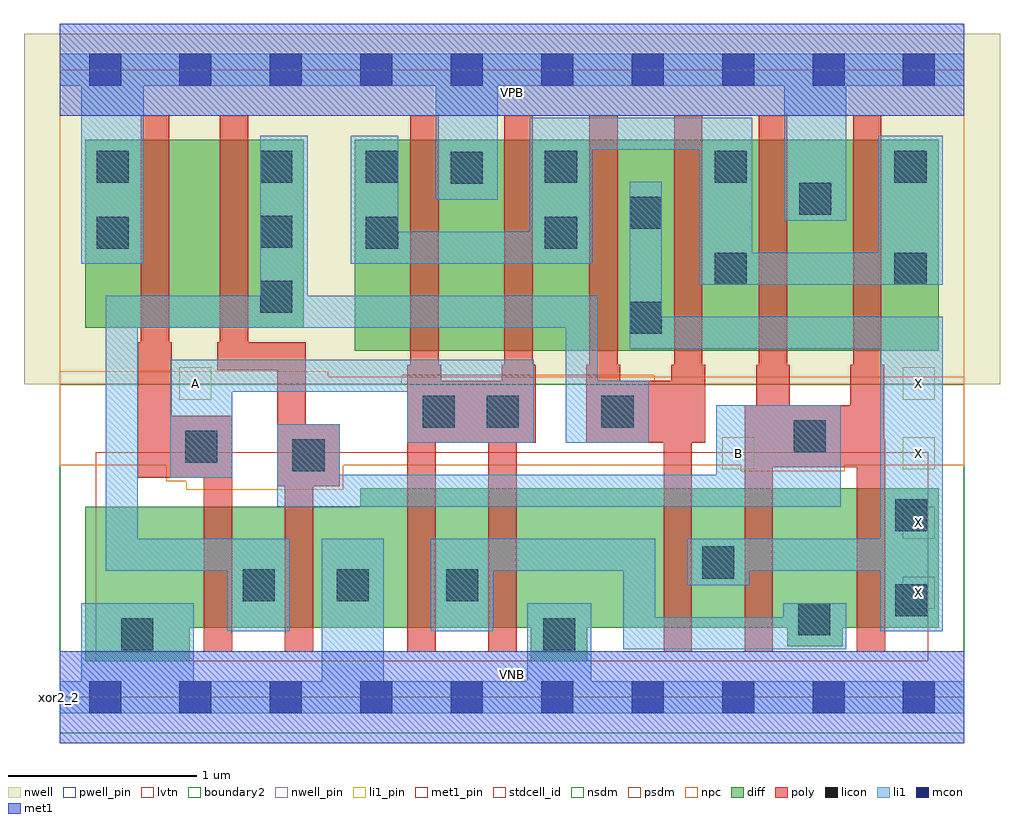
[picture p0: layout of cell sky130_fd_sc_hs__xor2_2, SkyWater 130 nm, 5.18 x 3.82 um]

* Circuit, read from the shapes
.subckt sky130_fd_sc_hs__xor2_2 A B VGND VNB VPB VPWR X
XM1 n1 A VGND VNB sky130_fd_pr__nfet_01v8_lvt w=0.64 l=0.15
XM2 VGND B n1 VNB sky130_fd_pr__nfet_01v8_lvt w=0.64 l=0.15
XM3 n2 A VGND VNB sky130_fd_pr__nfet_01v8_lvt w=0.74 l=0.15 m=2
XM4 X n1 VGND VNB sky130_fd_pr__nfet_01v8_lvt w=0.74 l=0.15
XM5 n2 B X VNB sky130_fd_pr__nfet_01v8_lvt w=0.74 l=0.15 m=2
XM6 n3 A VPWR VPB sky130_fd_pr__pfet_01v8 w=1 l=0.15
XM7 n1 B n3 VPB sky130_fd_pr__pfet_01v8 w=1 l=0.15
XM8 VPWR A n4 VPB sky130_fd_pr__pfet_01v8 w=1.12 l=0.15 m=2
XM9 X n1 n4 VPB sky130_fd_pr__pfet_01v8 w=1.12 l=0.15 m=2
XM10 VPWR B n4 VPB sky130_fd_pr__pfet_01v8 w=1.12 l=0.15 m=2
.ends

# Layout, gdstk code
import gdstk
lib = gdstk.Library(unit=1e-6, precision=1e-09)
def R(c, l, rs):  # rectangles x0, y0, x1, y1
    for r in rs: c.add(gdstk.rectangle(r[:2], r[2:], *l))
def A(c, l, x, y, w, h, nx, ny, dx, dy):  # array of equal rectangles
    R(c, l, [(x+i*dx, y+j*dy, x+i*dx+w, y+j*dy+h) for i in range(nx) for j in range(ny)])
def P(c, l, *ps):  # polygons
    for p in ps: c.add(gdstk.Polygon(p, *l))
nwell_pin = (64, 16)
nwell = (64, 20)
diff = (65, 20)
poly = (66, 20)
licon = (66, 44)
li1_pin = (67, 16)
li1 = (67, 20)
mcon = (67, 44)
met1_pin = (68, 16)
met1 = (68, 20)
stdcell_id = (81, 4)
nsdm = (93, 44)
psdm = (94, 20)
npc = (95, 20)
pwell_pin = (122, 16)
lvtn = (125, 44)
boundary2 = (236, 0)

sky130_fd_sc_hs__xor2_2 = lib.new_cell('sky130_fd_sc_hs__xor2_2')
R(sky130_fd_sc_hs__xor2_2, nwell_pin, [(0,3.085,4.8,3.33)])
R(sky130_fd_sc_hs__xor2_2, nwell, [(-0.19,1.66,4.99,3.52)])
R(sky130_fd_sc_hs__xor2_2, diff, [(1.565,1.84,4.665,2.96), (0.135,1.96,1.295,2.96)])
P(sky130_fd_sc_hs__xor2_2, diff, [(4.665,1.11),(1.595,1.11),(1.595,1.01),(0.135,1.01),(0.135,0.19),(0.69,0.19),(0.69,0.37),(2.5,0.37),(2.5,0.19),(2.8,0.19),(2.8,0.37),(3.86,0.37),(3.86,0.27),(4.155,0.27),(4.155,0.37),(4.665,0.37)])
P(sky130_fd_sc_hs__xor2_2, poly, [(4.38,1.37),(4.375,1.37),(4.375,1.765),(4.36,1.765),(4.36,3.09),(4.21,3.09),(4.21,1.765),(4.195,1.765),(4.195,1.55),(3.875,1.55),(3.875,1.765),(3.86,1.765),(3.86,3.09),(3.71,3.09),(3.71,1.765),(3.695,1.765),(3.695,1.55),(3.635,1.55),(3.635,0.24),(3.785,0.24),(3.785,1.22),(4.23,1.22),(4.23,0.24),(4.38,0.24)],
  [(3.425,1.765),(3.41,1.765),(3.41,3.09),(3.26,3.09),(3.26,1.765),(3.245,1.765),(3.245,1.68),(2.975,1.68),(2.975,1.765),(2.96,1.765),(2.96,3.09),(2.81,3.09),(2.81,1.765),(2.795,1.765),(2.795,1.35),(3.205,1.35),(3.205,0.24),(3.355,0.24),(3.355,1.35),(3.425,1.35)],
  [(2.525,1.765),(2.51,1.765),(2.51,3.09),(2.36,3.09),(2.36,1.765),(2.345,1.765),(2.345,1.68),(2.025,1.68),(2.025,1.765),(2.01,1.765),(2.01,3.09),(1.86,3.09),(1.86,1.765),(1.845,1.765),(1.845,0.24),(1.995,0.24),(1.995,1.35),(2.275,1.35),(2.275,0.24),(2.425,0.24),(2.425,1.35),(2.525,1.35)],
  [(1.485,1.45),(1.305,1.45),(1.305,1.885),(1,1.885),(1,3.09),(0.85,3.09),(0.85,1.885),(0.835,1.885),(0.835,1.735),(1.155,1.735),(1.155,1.12),(1.195,1.12),(1.195,0.24),(1.345,0.24),(1.345,1.12),(1.485,1.12)],
  [(0.915,1.495),(0.595,1.495),(0.595,1.885),(0.58,1.885),(0.58,3.09),(0.43,3.09),(0.43,1.885),(0.415,1.885),(0.415,1.165),(0.765,1.165),(0.765,0.24),(0.915,0.24)])
A(sky130_fd_sc_hs__xor2_2, licon, 1.065, 2.04, 0.17, 0.17, 1, 3, 0, 0.345)
R(sky130_fd_sc_hs__xor2_2, licon, [(0.325,0.25,0.495,0.42), (2.565,0.25,2.735,0.42), (3.92,0.33,4.09,0.5), (4.435,0.43,4.605,0.6), (0.97,0.51,1.14,0.68), (1.47,0.51,1.64,0.68), (2.05,0.51,2.22,0.68), (3.41,0.63,3.58,0.8), (4.435,0.88,4.605,1.05), (1.235,1.2,1.405,1.37), (0.665,1.245,0.835,1.415), (3.895,1.3,4.065,1.47), (1.925,1.43,2.095,1.6), (2.265,1.43,2.435,1.6), (2.875,1.43,3.045,1.6), (3.025,1.93,3.195,2.1), (3.475,2.19,3.645,2.36), (4.43,2.19,4.6,2.36), (0.195,2.38,0.365,2.55), (1.625,2.38,1.795,2.55), (2.575,2.38,2.745,2.55), (3.025,2.485,3.195,2.655), (3.925,2.56,4.095,2.73), (2.075,2.725,2.245,2.895), (0.195,2.73,0.365,2.9), (1.625,2.73,1.795,2.9), (2.575,2.73,2.745,2.9), (3.475,2.73,3.645,2.9), (4.43,2.73,4.6,2.9)])
A(sky130_fd_sc_hs__xor2_2, li1_pin, 4.475, 0.47, 0.17, 0.17, 1, 4, 0, 0.37)
R(sky130_fd_sc_hs__xor2_2, li1_pin, [(3.515,1.21,3.685,1.38), (0.635,1.58,0.805,1.75)])
P(sky130_fd_sc_hs__xor2_2, li1, [(0,-0.085),(0,0.085),(0.115,0.085),(0.115,0.5),(0.71,0.5),(0.71,0.085),(1.39,0.085),(1.39,0.84),(1.72,0.84),(1.72,0.085),(2.48,0.085),(2.48,0.5),(2.82,0.5),(2.82,0.085),(4.8,0.085),(4.8,-0.085)],
  [(0,3.245),(0,3.415),(4.8,3.415),(4.8,3.245),(4.175,3.245),(4.175,2.53),(3.845,2.53),(3.845,3.245),(2.325,3.245),(2.325,2.64),(1.995,2.64),(1.995,3.245),(0.445,3.245),(0.445,2.3),(0.115,2.3),(0.115,3.245)],
  [(0.585,1.165),(0.585,1.79),(2.515,1.79),(2.515,1.35),(1.845,1.35),(1.845,1.62),(0.915,1.62),(0.915,1.165)],
  [(1.485,1.18),(3.485,1.18),(3.485,1.55),(4.145,1.55),(4.145,1.01),(1.155,1.01),(1.155,1.45),(1.485,1.45)],
  [(4.355,0.35),(4.355,0.67),(3.66,0.67),(3.66,0.595),(3.33,0.595),(3.33,0.84),(4.355,0.84),(4.355,1.85),(3.025,1.85),(3.025,2.735),(3.195,2.735),(3.195,2.02),(4.685,2.02),(4.685,0.35)],
  [(1.315,2.13),(2.855,2.13),(2.855,1.68),(3.125,1.68),(3.125,1.35),(2.685,1.35),(2.685,1.96),(0.415,1.96),(0.415,0.84),(1.22,0.84),(1.22,0.35),(0.89,0.35),(0.89,0.67),(0.245,0.67),(0.245,2.13),(1.065,2.13),(1.065,2.98),(1.315,2.98)],
  [(3.675,2.36),(4.345,2.36),(4.345,2.98),(4.685,2.98),(4.685,2.19),(3.395,2.19),(3.395,2.905),(2.825,2.905),(2.825,2.3),(1.545,2.3),(1.545,2.98),(1.795,2.98),(1.795,2.47),(2.495,2.47),(2.495,3.075),(3.675,3.075)],
  [(2.99,0.255),(2.99,0.67),(2.3,0.67),(2.3,0.35),(1.97,0.35),(1.97,0.84),(3.16,0.84),(3.16,0.425),(3.84,0.425),(3.84,0.5),(4.175,0.5),(4.175,0.255)])
A(sky130_fd_sc_hs__xor2_2, mcon, 0.155, -0.085, 0.17, 0.17, 10, 2, 0.48, 3.33)
R(sky130_fd_sc_hs__xor2_2, met1_pin, [(0,0,4.8,0.245), (0,3.085,4.8,3.33)])
R(sky130_fd_sc_hs__xor2_2, met1, [(0,-0.245,4.8,0.245), (0,3.085,4.8,3.575)])
R(sky130_fd_sc_hs__xor2_2, stdcell_id, [(0,0,4.8,3.33)])
R(sky130_fd_sc_hs__xor2_2, nsdm, [(0,-0.19,4.8,1.66)])
P(sky130_fd_sc_hs__xor2_2, psdm, [(4.8,3.52),(0,3.52),(0,1.66),(1.815,1.66),(1.815,1.71),(3.155,1.71),(3.155,1.66),(4.8,1.66)])
P(sky130_fd_sc_hs__xor2_2, npc, [(4.8,1.7),(1.425,1.7),(1.425,1.73),(0,1.73),(0,1.23),(0.565,1.23),(0.565,1.145),(0.67,1.145),(0.67,1.1),(1.505,1.1),(1.505,1.23),(3.615,1.23),(3.615,1.2),(4.165,1.2),(4.165,1.23),(4.8,1.23)])
R(sky130_fd_sc_hs__xor2_2, pwell_pin, [(0,0,4.8,0.245)])
R(sky130_fd_sc_hs__xor2_2, lvtn, [(0.19,0.19,4.61,1.3)])
R(sky130_fd_sc_hs__xor2_2, boundary2, [(0,0,4.8,3.33)])
sky130_fd_sc_hs__xor2_2.add(gdstk.Label('xor2_2', (0,0), layer=83, texttype=44))
sky130_fd_sc_hs__xor2_2.add(gdstk.Label('VNB', (2.4,0.123), layer=64, texttype=59))
sky130_fd_sc_hs__xor2_2.add(gdstk.Label('VPB', (2.4,3.208), layer=64, texttype=5))
sky130_fd_sc_hs__xor2_2.add(gdstk.Label('VPWR', (2.4,3.208), layer=68, texttype=5))
sky130_fd_sc_hs__xor2_2.add(gdstk.Label('VGND', (2.4,0.123), layer=68, texttype=5))
sky130_fd_sc_hs__xor2_2.add(gdstk.Label('A', (0.72,1.665), layer=67, texttype=5))
sky130_fd_sc_hs__xor2_2.add(gdstk.Label('B', (3.6,1.295), layer=67, texttype=5))
sky130_fd_sc_hs__xor2_2.add(gdstk.Label('X', (4.56,0.555), layer=67, texttype=5))
sky130_fd_sc_hs__xor2_2.add(gdstk.Label('X', (4.56,0.925), layer=67, texttype=5))
sky130_fd_sc_hs__xor2_2.add(gdstk.Label('X', (4.56,1.295), layer=67, texttype=5))
sky130_fd_sc_hs__xor2_2.add(gdstk.Label('X', (4.56,1.665), layer=67, texttype=5))

lib.write_gds('sky130_fd_sc_hs__xor2_2.gds')
